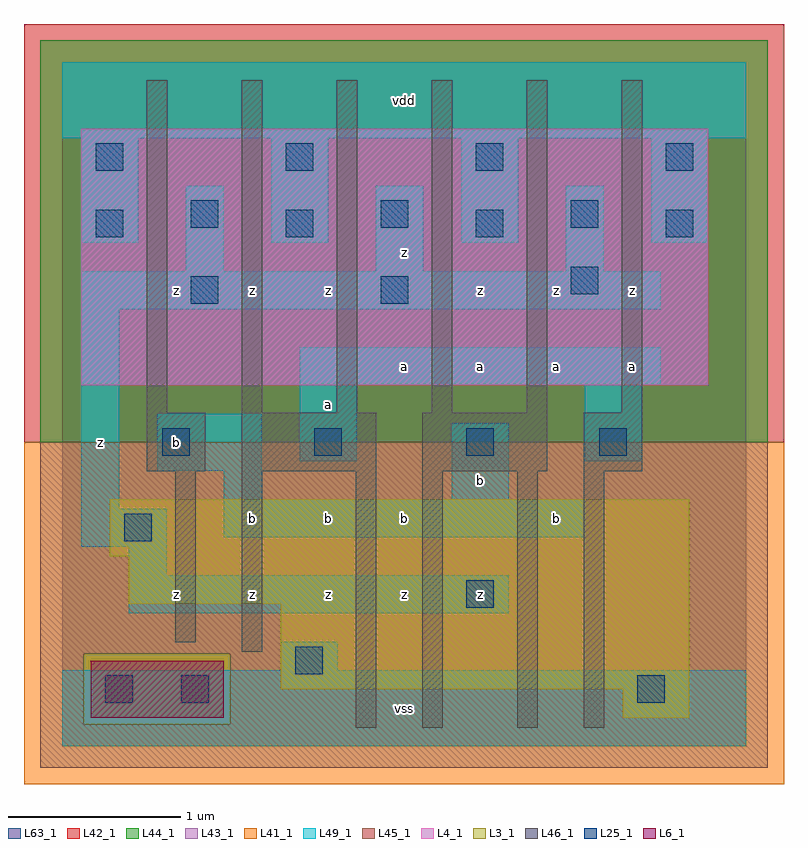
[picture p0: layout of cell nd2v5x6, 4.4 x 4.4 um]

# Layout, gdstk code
import gdstk
lib = gdstk.Library(unit=1e-6, precision=1e-09)
def R(c, l, rs):  # rectangles x0, y0, x1, y1
    for r in rs: c.add(gdstk.rectangle(r[:2], r[2:], *l))
def A(c, l, x, y, w, h, nx, ny, dx, dy):  # array of equal rectangles
    R(c, l, [(x+i*dx, y+j*dy, x+i*dx+w, y+j*dy+h) for i in range(nx) for j in range(ny)])
L3_1 = (3, 1)
L4_1 = (4, 1)
L6_1 = (6, 1)
L25_1 = (25, 1)
L41_1 = (41, 1)
L42_1 = (42, 1)
L43_1 = (43, 1)
L44_1 = (44, 1)
L45_1 = (45, 1)
L46_1 = (46, 1)
L49_1 = (49, 1)
L63_1 = (63, 1)

nd2v5x6 = lib.new_cell('nd2v5x6')
R(nd2v5x6, L3_1, [(3.245,0.165,3.63,0.33), (1.265,0.33,3.63,0.825), (0.385,0.825,3.63,1.1), (0.275,1.1,3.63,1.43)])
R(nd2v5x6, L4_1, [(0.11,2.09,3.74,3.575)])
R(nd2v5x6, L6_1, [(0.165,0.165,0.935,0.495)])
A(nd2v5x6, L25_1, 0.58, 1.68, 0.16, 0.16, 3, 1, 0.88, 0)
A(nd2v5x6, L25_1, 0.195, 2.945, 0.16, 0.16, 4, 2, 1.1, 0.385)
A(nd2v5x6, L25_1, 0.745, 3, 0.16, 0.16, 3, 1, 1.1, 0)
R(nd2v5x6, L25_1, [(0.25,0.25,0.41,0.41), (0.69,0.25,0.85,0.41), (3.33,0.25,3.49,0.41), (1.35,0.415,1.51,0.575), (2.34,0.8,2.5,0.96), (0.36,1.185,0.52,1.345), (3.11,1.68,3.27,1.84), (0.745,2.56,0.905,2.72), (1.845,2.56,2.005,2.72), (2.945,2.615,3.105,2.775)])
R(nd2v5x6, L41_1, [(-0.22,-0.22,4.18,1.76)])
R(nd2v5x6, L42_1, [(-0.22,1.76,4.18,4.18)])
R(nd2v5x6, L43_1, [(0.165,0.165,0.935,0.495), (3.245,0.165,3.63,0.33), (1.265,0.33,3.63,0.825), (0.385,0.825,3.63,1.1), (0.275,1.1,3.63,1.43), (0.11,2.09,3.74,3.575)])
R(nd2v5x6, L44_1, [(0.125,0.125,0.975,0.535), (-0.125,1.76,4.085,4.085)])
R(nd2v5x6, L45_1, [(-0.125,-0.125,4.085,0.125), (-0.125,0.125,0.125,0.535), (0.975,0.125,4.085,0.535), (-0.125,0.535,4.085,1.76)])
A(nd2v5x6, L46_1, 0.49, 1.93, 0.12, 1.925, 6, 1, 0.55, 0)
R(nd2v5x6, L46_1, [(1.7,0.105,1.82,1.59), (2.085,0.105,2.205,1.59), (2.635,0.105,2.755,1.59), (3.02,0.105,3.14,1.59), (1.04,0.545,1.16,1.59), (0.655,0.6,0.775,1.59), (0.49,1.59,0.83,1.93), (1.04,1.59,1.82,1.93), (2.085,1.59,2.81,1.93), (3.02,1.59,3.36,1.93)])
A(nd2v5x6, L49_1, 0.11, 2.915, 0.33, 0.605, 4, 1, 1.1, 0)
R(nd2v5x6, L49_1, [(0,0,3.96,0.44), (1.265,0.44,1.595,0.605), (0.385,0.77,2.585,0.99), (0.385,0.99,0.605,1.155), (0.11,1.155,0.605,1.375), (0.935,1.21,3.025,1.43), (0.11,1.375,0.33,2.53), (0.935,1.43,1.155,1.595), (2.255,1.43,2.585,1.87), (0.55,1.595,1.155,1.925), (1.375,1.65,1.705,2.09), (3.025,1.65,3.355,2.09), (1.375,2.09,3.465,2.31), (0.11,2.53,3.465,2.75), (0.715,2.75,0.935,3.245), (1.815,2.75,2.09,3.245), (2.915,2.75,3.135,3.245), (0,3.52,3.96,3.96)])
R(nd2v5x6, L63_1, [(0,0,3.96,3.96)])
nd2v5x6.add(gdstk.Label('z', (0.22,1.76), layer=49, texttype=1))
nd2v5x6.add(gdstk.Label('z', (1.1,0.88), layer=49, texttype=1))
nd2v5x6.add(gdstk.Label('z', (0.66,0.88), layer=49, texttype=1))
nd2v5x6.add(gdstk.Label('b', (1.1,1.32), layer=49, texttype=1))
nd2v5x6.add(gdstk.Label('b', (0.66,1.76), layer=49, texttype=1))
nd2v5x6.add(gdstk.Label('z', (0.66,2.64), layer=49, texttype=1))
nd2v5x6.add(gdstk.Label('z', (1.1,2.64), layer=49, texttype=1))
nd2v5x6.add(gdstk.Label('vss', (1.98,0.22), layer=49, texttype=1))
nd2v5x6.add(gdstk.Label('z', (1.98,0.88), layer=49, texttype=1))
nd2v5x6.add(gdstk.Label('z', (1.54,0.88), layer=49, texttype=1))
nd2v5x6.add(gdstk.Label('b', (1.54,1.32), layer=49, texttype=1))
nd2v5x6.add(gdstk.Label('b', (1.98,1.32), layer=49, texttype=1))
nd2v5x6.add(gdstk.Label('a', (1.54,1.98), layer=49, texttype=1))
nd2v5x6.add(gdstk.Label('a', (1.98,2.2), layer=49, texttype=1))
nd2v5x6.add(gdstk.Label('z', (1.54,2.64), layer=49, texttype=1))
nd2v5x6.add(gdstk.Label('z', (1.98,2.86), layer=49, texttype=1))
nd2v5x6.add(gdstk.Label('vdd', (1.98,3.74), layer=49, texttype=1))
nd2v5x6.add(gdstk.Label('z', (2.42,0.88), layer=49, texttype=1))
nd2v5x6.add(gdstk.Label('b', (2.86,1.32), layer=49, texttype=1))
nd2v5x6.add(gdstk.Label('b', (2.42,1.54), layer=49, texttype=1))
nd2v5x6.add(gdstk.Label('a', (2.42,2.2), layer=49, texttype=1))
nd2v5x6.add(gdstk.Label('a', (2.86,2.2), layer=49, texttype=1))
nd2v5x6.add(gdstk.Label('z', (2.42,2.64), layer=49, texttype=1))
nd2v5x6.add(gdstk.Label('z', (2.86,2.64), layer=49, texttype=1))
nd2v5x6.add(gdstk.Label('a', (3.3,2.2), layer=49, texttype=1))
nd2v5x6.add(gdstk.Label('z', (3.3,2.64), layer=49, texttype=1))

lib.write_gds('nd2v5x6.gds')
